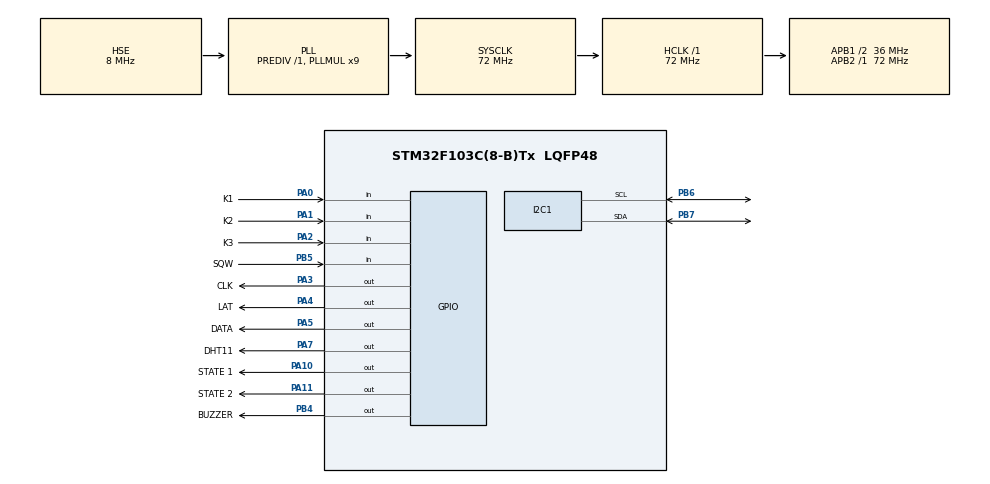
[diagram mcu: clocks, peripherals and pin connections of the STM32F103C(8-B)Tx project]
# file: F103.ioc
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Mcu.Family=STM32F1
Mcu.Name=STM32F103C(8-B)Tx
Mcu.Package=LQFP48
NVIC.PriorityGroup=NVIC_PRIORITYGROUP_4
NVIC.TIM2_IRQn=true\:1\:0\:true\:false\:true\:true\:true\:true
PA0-WKUP.GPIO_Label=K1
PA0-WKUP.Signal=GPIO_Input
PA1.GPIO_Label=K2
PA1.Signal=GPIO_Input
PA10.GPIO_Label=STATE 1
PA10.GPIO_ModeDefaultOutputPP=GPIO_MODE_OUTPUT_PP
PA10.GPIO_PuPd=GPIO_NOPULL
PA10.GPIO_Speed=GPIO_SPEED_FREQ_LOW
PA10.Signal=GPIO_Output
PA11.GPIO_Label=STATE 2
PA11.Signal=GPIO_Output
PA13.Mode=Serial_Wire
PA13.Signal=SYS_JTMS-SWDIO
PA14.Mode=Serial_Wire
PA14.Signal=SYS_JTCK-SWCLK
PA2.GPIO_Label=K3
PA2.Signal=GPIO_Input
PA3.GPIO_Label=CLK
PA3.GPIO_Speed=GPIO_SPEED_FREQ_MEDIUM
PA3.PinState=GPIO_PIN_RESET
PA3.Signal=GPIO_Output
PA4.GPIO_Label=LAT
PA4.GPIO_Speed=GPIO_SPEED_FREQ_MEDIUM
PA4.PinState=GPIO_PIN_RESET
PA4.Signal=GPIO_Output
PA5.GPIO_Label=DATA
PA5.GPIO_Speed=GPIO_SPEED_FREQ_MEDIUM
PA5.Signal=GPIO_Output
PA7.GPIO_Label=DHT11
PA7.GPIO_ModeDefaultOutputPP=GPIO_MODE_OUTPUT_PP
PA7.GPIO_PuPd=GPIO_NOPULL
PA7.GPIO_Speed=GPIO_SPEED_FREQ_LOW
PA7.Signal=GPIO_Output
PB4.GPIO_Label=BUZZER
PB4.Signal=GPIO_Output
PB5.GPIO_Label=SQW
PB5.Signal=GPIO_Input
PB6.Mode=I2C
PB6.Signal=I2C1_SCL
PB7.Mode=I2C
PB7.Signal=I2C1_SDA
PD0-OSC_IN.Mode=HSE-External-Oscillator
PD0-OSC_IN.Signal=RCC_OSC_IN
PD1-OSC_OUT.Mode=HSE-External-Oscillator
PD1-OSC_OUT.Signal=RCC_OSC_OUT
ProjectManager.HeapSize=0x200
ProjectManager.StackSize=0x400
ProjectManager.TargetToolchain=MDK-ARM V5.32
RCC.AHBFreq_Value=72000000
RCC.APB1CLKDivider=RCC_HCLK_DIV2
RCC.APB1Freq_Value=36000000
RCC.APB1TimFreq_Value=72000000
RCC.APB2Freq_Value=72000000
RCC.APB2TimFreq_Value=72000000
RCC.HCLKFreq_Value=72000000
RCC.PLLMUL=RCC_PLL_MUL9
RCC.PLLSourceVirtual=RCC_PLLSOURCE_HSE
RCC.SYSCLKFreq_VALUE=72000000
RCC.SYSCLKSource=RCC_SYSCLKSOURCE_PLLCLK
RCC.USBFreq_Value=72000000
TIM2.Period=26
TIM2.Prescaler=7199
TIM4.Prescaler=72-1
VP_TIM2_VS_ClockSourceINT.Mode=Internal
VP_TIM4_VS_ClockSourceINT.Mode=Internal
board=custom

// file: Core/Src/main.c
/* USER CODE BEGIN Header */
/**
  ******************************************************************************
  * @file           : main.c
  * @brief          : Main program body
  ******************************************************************************
  * @attention
  *
  * Copyright (c) 2024 STMicroelectronics.
  * All rights reserved.
  *
  * This software is licensed under terms that can be found in the LICENSE file
  * in the root directory of this software component.
  * If no LICENSE file comes with this software, it is provided AS-IS.
  *
  ******************************************************************************
  */
/* USER CODE END Header */
#include "main.h"
#include <stdbool.h>
/* USER CODE BEGIN Includes */
#include "mk_dht11.h"
/* USER CODE END Includes */

/* USER CODE BEGIN PTD */
typedef struct {
	uint8_t Seconds;
	uint8_t	Minute;
	uint8_t Hour;
	uint8_t Date;
	uint8_t Month;
	uint8_t Year;
}Time;

typedef struct{
	uint8_t Hour;
	uint8_t	Minute;
}Time_A;

/* USER CODE END PTD */

/* USER CODE BEGIN PD */
#define DS1307_Address 0x68
#define Seconds_Address 0x00
#define	Minute_Address 0x01
#define	Hour_Address	0x02
#define Date_Address 0x04
#define Month_Address 0x05
#define Year_Address 0x06
#define SQW_Address 0x07
#define HourAlarm_1_Address 0x08
#define MinuteAlarm_1_Address 0x09
#define HourAlarm_2_Address 0x10
#define MinuteAlarm_2_Address 0x11
#define HourAlarm_3_Address 0x12
#define MinuteAlarm_3_Address 0x13
#define AlarmState_Address 0x14
#define Value_1HZ 0x10
#define Value_Start 0x00
/* USER CODE END PD */

I2C_HandleTypeDef hi2c1;
TIM_HandleTypeDef htim2;
TIM_HandleTypeDef htim4;

/* USER CODE BEGIN PV */
 uint8_t LED_CODE[31] = {0xC0, 0xF9, 0xA4, 0xB0, 0x99, 0x92, 0x82, 0xF8, 0x80, 0x90, 0x40, 0x79, 0x24, 0x30, 0x19, 0x12, 0x02, 0x78, 0x00, 0x10, 0xFF,
 0x83/*chu b 21*/, 0xAB/*chu n 22*/, 0x8E/*chu f 23*/, 0xC3/*nua w 24*/, 0xE1/*nua w 25*/, 0xC1/*chu U 26*/, 0x8C/*chu p 27*/, 0xF7/*dau _ 28*/, 0x87/*chu t 29*/, 0xCF/*chu i 30*/};
 uint8_t LED_POS[8] = {0x80, 0x40, 0x20, 0x10, 0x08, 0x04, 0x02, 0x01};
 uint8_t LED_State[8];
 uint8_t T = 0;
 uint8_t Status = 0;
 uint8_t Status_Alarm = 0;
 bool sqw_before, sqw_later;
 bool Buzzer_State;
 uint8_t LED_Pos_Loop;
 dht11_t DHT11;
 Time DS1307;
 Time_A Alarms[3];
 uint8_t Alarm_State[3];
/* USER CODE END PV */

void SystemClock_Config(void);
static void MX_GPIO_Init(void);
static void MX_I2C1_Init(void);
static void MX_TIM4_Init(void);
static void MX_TIM2_Init(void);

/* USER CODE BEGIN 0 */

//Ham xu li nap xuat du lieu 74HC595 hien thi LED 7 thanh
void HC_595(uint8_t code,uint8_t pos){
	HAL_GPIO_WritePin(LAT_GPIO_Port, LAT_Pin,0);
	uint8_t i;
	for(i = 0; i < 8; i++){
		if(pos&0x80) HAL_GPIO_WritePin(DATA_GPIO_Port, DATA_Pin,1);
		else HAL_GPIO_WritePin(DATA_GPIO_Port, DATA_Pin,0);
		HAL_GPIO_WritePin(CLK_GPIO_Port, CLK_Pin,1);
		HAL_GPIO_WritePin(CLK_GPIO_Port, CLK_Pin,0);
		pos = pos<<1;
		}
	for(i = 0; i < 8; i++){
		if(code&0x80) HAL_GPIO_WritePin(DATA_GPIO_Port, DATA_Pin,1);
		else HAL_GPIO_WritePin(DATA_GPIO_Port, DATA_Pin,0);
		HAL_GPIO_WritePin(CLK_GPIO_Port, CLK_Pin,1);
		HAL_GPIO_WritePin(CLK_GPIO_Port, CLK_Pin,0);
		code = code<<1;
		}
		HAL_GPIO_WritePin(LAT_GPIO_Port, LAT_Pin,1);
}

//Ham giai ma hex to dec
uint8_t DS1307_Decode(uint8_t temp){
	return (((temp & 0xf0) >> 4) * 10) + (temp & 0x0f);
}

//Ham ma hoa dec to hex
uint8_t DS1307_Encode(uint8_t dec) {
  return (dec % 10 + ((dec / 10) << 4));
}

//Ham gi du truyen ghi du lieu vao DS1307
void Write_DS(uint8_t Address, uint8_t Value){
	uint8_t bytes[2] = {Address, Value};
	HAL_I2C_Master_Transmit(&hi2c1, DS1307_Address << 1, bytes, 2, 2000);
}

//Ham doc du lieu tu DS1307
uint8_t Read_DS(uint8_t Address){
	uint8_t Value;
	HAL_I2C_Master_Transmit(&hi2c1, DS1307_Address << 1, &Address, 1, 2000);
	HAL_I2C_Master_Receive(&hi2c1, DS1307_Address << 1, &Value, 1, 2000);
	return Value;
}
//Ham dat thoi gian va ngay thang nam
void Set_Time(uint8_t Seconds, uint8_t Hour, uint8_t Minute, uint8_t Date, uint8_t Month, uint8_t Year){
	Write_DS(Seconds_Address, DS1307_Encode(Seconds&0x7f));
	Write_DS(Hour_Address, DS1307_Encode(Hour&0x3f));
	Write_DS(Minute_Address, DS1307_Encode(Minute));
	Write_DS(Date_Address, DS1307_Encode(Date));
	Write_DS(Month_Address, DS1307_Encode(Month));
	Write_DS(Year_Address, DS1307_Encode(Year));
}

//Ham doc thoi gian

void Read_Time(){
	DS1307.Seconds = DS1307_Decode(Read_DS(Seconds_Address)&0x7f);
	DS1307.Hour = DS1307_Decode(Read_DS(Hour_Address)&0x3f);
	DS1307.Minute = DS1307_Decode(Read_DS(Minute_Address));
}
//Ham doc ngay thang nam
void Read_Date(){
	DS1307.Date = DS1307_Decode(Read_DS(Date_Address));
	DS1307.Month = DS1307_Decode(Read_DS(Month_Address));
	DS1307.Year = DS1307_Decode(Read_DS(Year_Address));
}
//Ham doc bao thuc
void Read_Alarm(){
	Alarms[0].Hour = DS1307_Decode(Read_DS(HourAlarm_1_Address));
	Alarms[0].Minute = DS1307_Decode(Read_DS(MinuteAlarm_1_Address));
	Alarms[1].Hour = DS1307_Decode(Read_DS(HourAlarm_2_Address));
	Alarms[1].Minute = DS1307_Decode(Read_DS(MinuteAlarm_2_Address));
	Alarms[2].Hour = DS1307_Decode(Read_DS(HourAlarm_3_Address));
	Alarms[2].Minute = DS1307_Decode(Read_DS(MinuteAlarm_3_Address));
	uint8_t Alarm_State_byte = DS1307_Decode(Read_DS(AlarmState_Address));
	for(uint8_t i = 0; i < 3; i++){
		if(Alarm_State_byte>>i&0x01) Alarm_State[i] = 1;
		else Alarm_State[i] = 0;
	}
}
//Ham dat bao thuc
void Set_Alarm(Time_A Alarms[]){
	Write_DS(HourAlarm_1_Address, DS1307_Encode(Alarms[0].Hour));
	Write_DS(MinuteAlarm_1_Address, DS1307_Encode(Alarms[0].Minute));
	Write_DS(HourAlarm_2_Address, DS1307_Encode(Alarms[1].Hour));
	Write_DS(MinuteAlarm_2_Address, DS1307_Encode(Alarms[1].Minute));
	Write_DS(HourAlarm_3_Address, DS1307_Encode(Alarms[2].Hour));
	Write_DS(MinuteAlarm_3_Address, DS1307_Encode(Alarms[2].Minute));
	uint8_t Alarm_State_byte;
	for(uint8_t i = 0; i < 3; i++){
		if(Alarm_State[i]) Alarm_State_byte |= (1 << i);
		else Alarm_State_byte &= (1 << i);
	}
	Write_DS(AlarmState_Address, DS1307_Encode(Alarm_State_byte));
}
//Ham kiem tra bao thuc de bat chuong 188
void Checking_Alarm(){
	for(uint8_t i = 0; i < 3; i++){
		if(Alarm_State[i] == true){
			if(Alarms[i].Hour == DS1307.Hour && Alarms[i].Minute == DS1307.Minute){
				Buzzer_State = true;
				return;
			}
		}
	}
	Buzzer_State = false;
}

//Ham tinh thoi gian de chuyen trang thai tu thoi gian sang thang va nam.
void Timer_Switch(uint8_t *T){
	sqw_before = sqw_later;
	sqw_later = HAL_GPIO_ReadPin(SQW_GPIO_Port,SQW_Pin);
	if(sqw_before == 1&& sqw_later == 0){
		if(Status == 0){
			if ((*T) == 59 ){
				Read_Time();
				Checking_Alarm();
				(*T) = 0;
				if (DS1307.Hour == 0 && DS1307.Minute == 0) Read_Date();
			}
			else{
				(*T)++;
			}
			readDHT11(&DHT11);
		}
	}
}

//Ham nap cac ki tu hien thi theo tung status day vao xu li 74HC595 Display_1 Hien thi Nhiet do/do am/thoi gian, Display_2  hien thi
void Display_0(){
	if(HAL_GPIO_ReadPin(SQW_GPIO_Port,SQW_Pin) == 0){
		for(uint8_t i = 0; i < 8; i++) LED_State[i]= 20;
	}
	else{
		LED_State[0] = 24;
		LED_State[1] = 25;
		LED_State[2] = 26;
		LED_State[3] = 27;
		LED_State[4] = DS1307.Hour/10 + 10;
		LED_State[5] = DS1307.Hour%10 + 10;
		LED_State[6] = DS1307.Minute/10 + 10;
		LED_State[7] = DS1307.Minute%10 + 10;
	}
	HAL_GPIO_WritePin(STATE_1_GPIO_Port, STATE_1_Pin, 1);
	HAL_GPIO_WritePin(STATE_2_GPIO_Port, STATE_2_Pin, 1);
}
void Display_1(uint8_t Status){
	if(Status == 0){
		LED_State[0] = (uint8_t)DHT11.temperature/10;
		LED_State[1] = (uint8_t)DHT11.temperature%10;
		LED_State[2] = (uint8_t)DHT11.humidty/10;
		LED_State[3] = (uint8_t)DHT11.humidty%10;
	}
	else{
		LED_State[0] = 5;
		LED_State[1] = 28;
		LED_State[2] = 29;
		LED_State[3] = 30;
	}
	if(HAL_GPIO_ReadPin(SQW_GPIO_Port,SQW_Pin) == 0){
		LED_State[4] = DS1307.Hour/10;
		LED_State[5] = DS1307.Hour%10;
		LED_State[6] = DS1307.Minute/10;
		LED_State[7] = DS1307.Minute%10;
	}
	else{
		LED_State[4] = DS1307.Hour/10 + 10;
		LED_State[5] = DS1307.Hour%10 + 10;
		LED_State[6] = DS1307.Minute/10 + 10;
		LED_State[7] = DS1307.Minute%10 + 10;
	}
	HAL_GPIO_WritePin(STATE_1_GPIO_Port, STATE_1_Pin, 1);
	HAL_GPIO_WritePin(STATE_2_GPIO_Port, STATE_2_Pin, 0);
}

void Display_2(){
	if(DS1307.Date/10 == 0) LED_State[0] = 20;
	else LED_State[0] = DS1307.Date/10;
	LED_State[1] = DS1307.Date%10;
	if(DS1307.Month/10 == 0) LED_State[2] = 20;
	else LED_State[2] = DS1307.Month/10;
	LED_State[3] = DS1307.Month%10;
	LED_State[4] = 2;
	LED_State[5] = 0;
	LED_State[6] = DS1307.Year/10;
	LED_State[7] = DS1307.Year%10;
	HAL_GPIO_WritePin(STATE_1_GPIO_Port, STATE_1_Pin, 0);
	HAL_GPIO_WritePin(STATE_2_GPIO_Port, STATE_2_Pin, 1);
}
void Display_3(uint8_t Status_Alarm, Time_A Alarms[], uint8_t Alarm_State[]){
	LED_State[0] = 21;
	LED_State[1] = Status_Alarm + 1;
	LED_State[2] = 0;
	if(Alarm_State[Status_Alarm]) LED_State[3] = 22;
	else LED_State[3] = 23;
	if(HAL_GPIO_ReadPin(SQW_GPIO_Port,SQW_Pin) == 0){
		LED_State[4] = Alarms[Status_Alarm].Hour/10;
		LED_State[5] = Alarms[Status_Alarm].Hour%10;
		LED_State[6] = Alarms[Status_Alarm].Minute/10;
		LED_State[7] = Alarms[Status_Alarm].Minute%10;
	}
	else{
		LED_State[4] = Alarms[Status_Alarm].Hour/10 + 10;
		LED_State[5] = Alarms[Status_Alarm].Hour%10 + 10;
		LED_State[6] = Alarms[Status_Alarm].Minute/10 + 10;
		LED_State[7] = Alarms[Status_Alarm].Minute%10 + 10;
	}
	HAL_GPIO_WritePin(STATE_1_GPIO_Port, STATE_1_Pin, 0);
	HAL_GPIO_WritePin(STATE_2_GPIO_Port, STATE_2_Pin, 0);
}
void Display_4(uint8_t Status){
	if(Status == 1 || Status == 7 || Status == 10 || Status == 13){
		LED_State[4] = 20;
		LED_State[5] = 20;
	}
	else if(Status == 2 || Status == 8 || Status == 11 || Status == 14){
		LED_State[6] = 20;
		LED_State[7] = 20;
	}
	else if(Status == 3){
		LED_State[4] = 20;
		LED_State[5] = 20;
		LED_State[6] = 20;
		LED_State[7] = 20;
	}
	else if(Status == 4 || Status == 6 || Status == 9 || Status == 12){
		LED_State[2] = 20;
		LED_State[3] = 20;
	}
	else if(Status == 5){
		LED_State[0] = 20;
		LED_State[1] = 20;
	}
}

//Ham hien thi tong
void Show_out(){
	if(Status == 0){
		if(!Buzzer_State){
			if((T%20)<15) Display_1(0);
			else Display_2();
		}
		else Display_0();
	}
	else if(Status == 1){
		Display_1(Status);
	}
	else if(Status == 2){
		Display_1(Status);
	}
	else if(Status == 3){
		Display_2();
	}
	else if(Status == 4){
		Display_2();
	}
	else if(Status == 5){
		Display_2();
	}
	else if(Status >= 6){
		Display_3(Status_Alarm, Alarms, Alarm_State);
	}
	if(Status != 0) if(HAL_GPIO_ReadPin(SQW_GPIO_Port,SQW_Pin) == 0) Display_4(Status);
	HC_595(LED_CODE[LED_State[LED_Pos_Loop]],LED_POS[LED_Pos_Loop]);
}
//Ham doc trang thai key chuyen doi trang thai
void Switch_Status(uint8_t *Value, uint8_t Max, bool *External){
	if(HAL_GPIO_ReadPin(K1_GPIO_Port,K1_Pin) == 0){
		HAL_Delay(20);
		uint32_t Time_check = HAL_GetTick();
		uint32_t Time_push;
		while(HAL_GPIO_ReadPin(K1_GPIO_Port,K1_Pin) == 0){
			HAL_GPIO_WritePin(BUZZER_GPIO_Port,BUZZER_Pin,1);
			Time_push = HAL_GetTick() - Time_check;
		}
		HAL_GPIO_WritePin(BUZZER_GPIO_Port,BUZZER_Pin,0);
		if(*External == true) *External = false;
		else{
			if(Time_push > 500 && Time_push < 1500){
				if(*Value == 0) HAL_Delay(500);
				else {
					(*Value)--;
					HAL_Delay(200);
				}
			}
			else if(Time_push >= 1500){
				*Value = Max;
			}
			else{
				if (*Value < Max) (*Value)++;
				else if(*Value == Max) {
					*Value = 0;
				}
			}
		}
	}
}
//Ham doc trang thai key tang len
void Up(uint8_t *Value, uint8_t Min, uint8_t Max){
	if(HAL_GPIO_ReadPin(K2_GPIO_Port,K2_Pin) == 0){
		HAL_Delay(20);
		while(HAL_GPIO_ReadPin(K2_GPIO_Port,K2_Pin) == 0)	HAL_GPIO_WritePin(BUZZER_GPIO_Port,BUZZER_Pin,1);
		HAL_GPIO_WritePin(BUZZER_GPIO_Port,BUZZER_Pin,0);
		if(*Value < Max) (*Value)++;
		else if(*Value == Max) *Value = Min;
	}
}
//Ham doc trang thai key giam xuong
void Down(uint8_t *Value,uint8_t Min, uint8_t Max){
	if(HAL_GPIO_ReadPin(K3_GPIO_Port,K3_Pin) == 0){
		HAL_Delay(20);
		while(HAL_GPIO_ReadPin(K3_GPIO_Port,K3_Pin) == 0) HAL_GPIO_WritePin(BUZZER_GPIO_Port,BUZZER_Pin,1);
		HAL_GPIO_WritePin(BUZZER_GPIO_Port,BUZZER_Pin,0);
		if(*Value > Min)(*Value)--;
		else if(*Value == Min) *Value = Max;
	}
}
//Ham chay chuong bao thuc
void Run_Buzzer(bool Buzzer_State){
	if(Buzzer_State){
		if(HAL_GPIO_ReadPin(SQW_GPIO_Port,SQW_Pin) == 1) HAL_GPIO_WritePin(BUZZER_GPIO_Port,BUZZER_Pin,1);
		else HAL_GPIO_WritePin(BUZZER_GPIO_Port,BUZZER_Pin,0);
	}
	else HAL_GPIO_WritePin(BUZZER_GPIO_Port,BUZZER_Pin,0);
}
//Ham kiem tra cac phim
void Key_Scan(){
	Switch_Status(&Status, 15, &Buzzer_State);
	switch(Status){
		case 0: break;
		case 1:{
			Up(&DS1307.Hour,0,23);
			Down(&DS1307.Hour,0,23);
			break;
		}
		case 2:{
			Up(&DS1307.Minute,0,59);
			Down(&DS1307.Minute,0,59);
			break;
		}
		case 3:{
			Up(&DS1307.Year,0,99);
			Down(&DS1307.Year,0,99);
			break;
		}
		case 4:{
			Up(&DS1307.Month,1,12);
			Down(&DS1307.Month,1,12);
			break;
		}
		case 5:{
			if(DS1307.Month == 1 || DS1307.Month == 3 || DS1307.Month == 5 || DS1307.Month == 7 ||
				DS1307.Month == 8 || DS1307.Month == 10 || DS1307.Month == 12){
				Up(&DS1307.Date,1,31);
				Down(&DS1307.Date,1,31);
				break;
				}
			else if(DS1307.Month == 4 || DS1307.Month == 6 || DS1307.Month == 9 || DS1307.Month == 11){
				if(DS1307.Date > 30) DS1307.Date = 30;
				Up(&DS1307.Date,1,30);
				Down(&DS1307.Date,1,30);
				break;
			}
			else if (DS1307.Month == 2){
				if(DS1307.Year%4 == 0){
					if(DS1307.Date > 29) DS1307.Date = 29;
					Up(&DS1307.Date,1,29);
					Down(&DS1307.Date,1,29);
					break;
				}
				else{
					if(DS1307.Date > 28) DS1307.Date = 28;
					Up(&DS1307.Date,1,28);
					Down(&DS1307.Date,1,28);
					break;
				}
			}
		}
		case 6:{
			Status_Alarm = 0;
			Up(&Alarm_State[0],0,1);
			Down(&Alarm_State[0],0,1);
			break;
		}
		case 7:{
			Up(&Alarms[0].Hour,0,23);
			Down(&Alarms[0].Hour,0,23);
			break;
		}
		case 8:{
			Up(&Alarms[0].Minute,0,59);
			Down(&Alarms[0].Minute,0,59);
			break;
		}
		case 9:{
			Status_Alarm = 1;
			Up(&Alarm_State[1],0,1);
			Down(&Alarm_State[1],0,1);
			break;
		}
		case 10:{
			Up(&Alarms[1].Hour,0,23);
			Down(&Alarms[1].Hour,0,23);
			break;
		}
		case 11:{
			Up(&Alarms[1].Minute,0,59);
			Down(&Alarms[1].Minute,0,59);
			break;
		}
		case 12:{
			Status_Alarm = 2;
			Up(&Alarm_State[2],0,1);
			Down(&Alarm_State[2],0,1);
			break;
		}
		case 13:{
			Up(&Alarms[2].Hour,0,23);
			Down(&Alarms[2].Hour,0,23);
			break;
		}
		case 14:{
			Up(&Alarms[2].Minute,0,59);
			Down(&Alarms[2].Minute,0,59);
			break;
		}
		case 15:{
			Set_Time(DS1307.Seconds ,DS1307.Hour, DS1307.Minute, DS1307.Date, DS1307.Month, DS1307.Year);
			Set_Alarm(Alarms);
			Status = 0;
			T = 0;
			HAL_Delay(1000);
			break;
		}
	}
}
void Init(){
	HAL_Delay(1000);
	Write_DS(SQW_Address,Value_1HZ);
	HAL_TIM_Base_Start_IT(&htim2);
	HAL_TIM_Base_Start(&htim4);
	init_dht11(&DHT11, &htim4, DHT11_GPIO_Port, DHT11_Pin);
	Read_Time();
	Read_Date();
	Read_Alarm();
	readDHT11(&DHT11);
	HAL_Delay(1000);
}
/* USER CODE END 0 */

int main(void)
{

  /* MCU Configuration--------------------------------------------------------*/

  /* Reset of all peripherals, Initializes the Flash interface and the Systick. */
  HAL_Init();

  /* Configure the system clock */
  SystemClock_Config();

  /* Initialize all configured peripherals */
  MX_GPIO_Init();
  MX_I2C1_Init();
  MX_TIM4_Init();
  MX_TIM2_Init();
  /* USER CODE BEGIN 2 */
	Init();
  /* USER CODE END 2 */

  /* Infinite loop */
  /* USER CODE BEGIN WHILE */
  while (1)
  {
		Key_Scan();
		Timer_Switch(&T);
		Run_Buzzer(Buzzer_State);
    /* USER CODE END WHILE */

  }
}

void SystemClock_Config(void)
{
  RCC_OscInitTypeDef RCC_OscInitStruct = {0};
  RCC_ClkInitTypeDef RCC_ClkInitStruct = {0};

  /** Initializes the RCC Oscillators according to the specified parameters
  * in the RCC_OscInitTypeDef structure.
  */
  RCC_OscInitStruct.OscillatorType = RCC_OSCILLATORTYPE_HSE;
  RCC_OscInitStruct.HSEState = RCC_HSE_ON;
  RCC_OscInitStruct.HSEPredivValue = RCC_HSE_PREDIV_DIV1;
  RCC_OscInitStruct.HSIState = RCC_HSI_ON;
  RCC_OscInitStruct.PLL.PLLState = RCC_PLL_ON;
  RCC_OscInitStruct.PLL.PLLSource = RCC_PLLSOURCE_HSE;
  RCC_OscInitStruct.PLL.PLLMUL = RCC_PLL_MUL9;
  if (HAL_RCC_OscConfig(&RCC_OscInitStruct) != HAL_OK)
  {
    Error_Handler();
  }

  /** Initializes the CPU, AHB and APB buses clocks
  */
  RCC_ClkInitStruct.ClockType = RCC_CLOCKTYPE_HCLK|RCC_CLOCKTYPE_SYSCLK
                              |RCC_CLOCKTYPE_PCLK1|RCC_CLOCKTYPE_PCLK2;
  RCC_ClkInitStruct.SYSCLKSource = RCC_SYSCLKSOURCE_PLLCLK;
  RCC_ClkInitStruct.AHBCLKDivider = RCC_SYSCLK_DIV1;
  RCC_ClkInitStruct.APB1CLKDivider = RCC_HCLK_DIV2;
  RCC_ClkInitStruct.APB2CLKDivider = RCC_HCLK_DIV1;

  if (HAL_RCC_ClockConfig(&RCC_ClkInitStruct, FLASH_LATENCY_2) != HAL_OK)
  {
    Error_Handler();
  }
}

static void MX_I2C1_Init(void)
{

  hi2c1.Instance = I2C1;
  hi2c1.Init.ClockSpeed = 100000;
  hi2c1.Init.DutyCycle = I2C_DUTYCYCLE_2;
  hi2c1.Init.OwnAddress1 = 0;
  hi2c1.Init.AddressingMode = I2C_ADDRESSINGMODE_7BIT;
  hi2c1.Init.DualAddressMode = I2C_DUALADDRESS_DISABLE;
  hi2c1.Init.OwnAddress2 = 0;
  hi2c1.Init.GeneralCallMode = I2C_GENERALCALL_DISABLE;
  hi2c1.Init.NoStretchMode = I2C_NOSTRETCH_DISABLE;
  if (HAL_I2C_Init(&hi2c1) != HAL_OK)
  {
    Error_Handler();
  }

}

static void MX_TIM2_Init(void)
{

  TIM_ClockConfigTypeDef sClockSourceConfig = {0};
  TIM_MasterConfigTypeDef sMasterConfig = {0};

  htim2.Instance = TIM2;
  htim2.Init.Prescaler = 7199;
  htim2.Init.CounterMode = TIM_COUNTERMODE_UP;
  htim2.Init.Period = 20;
  htim2.Init.ClockDivision = TIM_CLOCKDIVISION_DIV1;
  htim2.Init.AutoReloadPreload = TIM_AUTORELOAD_PRELOAD_DISABLE;
  if (HAL_TIM_Base_Init(&htim2) != HAL_OK)
  {
    Error_Handler();
  }
  sClockSourceConfig.ClockSource = TIM_CLOCKSOURCE_INTERNAL;
  if (HAL_TIM_ConfigClockSource(&htim2, &sClockSourceConfig) != HAL_OK)
  {
    Error_Handler();
  }
  sMasterConfig.MasterOutputTrigger = TIM_TRGO_RESET;
  sMasterConfig.MasterSlaveMode = TIM_MASTERSLAVEMODE_DISABLE;
  if (HAL_TIMEx_MasterConfigSynchronization(&htim2, &sMasterConfig) != HAL_OK)
  {
    Error_Handler();
  }

}

static void MX_TIM4_Init(void)
{

  TIM_ClockConfigTypeDef sClockSourceConfig = {0};
  TIM_MasterConfigTypeDef sMasterConfig = {0};

  htim4.Instance = TIM4;
  htim4.Init.Prescaler = 72-1;
  htim4.Init.CounterMode = TIM_COUNTERMODE_UP;
  htim4.Init.Period = 65535;
  htim4.Init.ClockDivision = TIM_CLOCKDIVISION_DIV1;
  htim4.Init.AutoReloadPreload = TIM_AUTORELOAD_PRELOAD_DISABLE;
  if (HAL_TIM_Base_Init(&htim4) != HAL_OK)
  {
    Error_Handler();
  }
  sClockSourceConfig.ClockSource = TIM_CLOCKSOURCE_INTERNAL;
  if (HAL_TIM_ConfigClockSource(&htim4, &sClockSourceConfig) != HAL_OK)
  {
    Error_Handler();
  }
  sMasterConfig.MasterOutputTrigger = TIM_TRGO_RESET;
  sMasterConfig.MasterSlaveMode = TIM_MASTERSLAVEMODE_DISABLE;
  if (HAL_TIMEx_MasterConfigSynchronization(&htim4, &sMasterConfig) != HAL_OK)
  {
    Error_Handler();
  }

}

static void MX_GPIO_Init(void)
{
  GPIO_InitTypeDef GPIO_InitStruct = {0};

  /* GPIO Ports Clock Enable */
  __HAL_RCC_GPIOC_CLK_ENABLE();
  __HAL_RCC_GPIOD_CLK_ENABLE();
  __HAL_RCC_GPIOA_CLK_ENABLE();
  __HAL_RCC_GPIOB_CLK_ENABLE();

  /*Configure GPIO pin Output Level */
  HAL_GPIO_WritePin(GPIOA, CLK_Pin|LAT_Pin|DATA_Pin|DHT11_Pin
                          |STATE_1_Pin|STATE_2_Pin, GPIO_PIN_RESET);

  /*Configure GPIO pin Output Level */
  HAL_GPIO_WritePin(BUZZER_GPIO_Port, BUZZER_Pin, GPIO_PIN_RESET);

  /*Configure GPIO pins : PC13 PC14 PC15 */
  GPIO_InitStruct.Pin = GPIO_PIN_13|GPIO_PIN_14|GPIO_PIN_15;
  GPIO_InitStruct.Mode = GPIO_MODE_ANALOG;
  HAL_GPIO_Init(GPIOC, &GPIO_InitStruct);

  /*Configure GPIO pins : K1_Pin K2_Pin K3_Pin */
  GPIO_InitStruct.Pin = K1_Pin|K2_Pin|K3_Pin;
  GPIO_InitStruct.Mode = GPIO_MODE_INPUT;
  GPIO_InitStruct.Pull = GPIO_NOPULL;
  HAL_GPIO_Init(GPIOA, &GPIO_InitStruct);

  /*Configure GPIO pins : CLK_Pin LAT_Pin DATA_Pin DHT11_Pin */
  GPIO_InitStruct.Pin = CLK_Pin|LAT_Pin|DATA_Pin|DHT11_Pin;
  GPIO_InitStruct.Mode = GPIO_MODE_OUTPUT_PP;
  GPIO_InitStruct.Pull = GPIO_NOPULL;
  GPIO_InitStruct.Speed = GPIO_SPEED_FREQ_LOW;
  HAL_GPIO_Init(GPIOA, &GPIO_InitStruct);

  /*Configure GPIO pins : PA6 PA8 PA9 PA12
                           PA15 */
  GPIO_InitStruct.Pin = GPIO_PIN_6|GPIO_PIN_8|GPIO_PIN_9|GPIO_PIN_12
                          |GPIO_PIN_15;
  GPIO_InitStruct.Mode = GPIO_MODE_ANALOG;
  HAL_GPIO_Init(GPIOA, &GPIO_InitStruct);

  /*Configure GPIO pins : PB0 PB1 PB2 PB10
                           PB11 PB12 PB13 PB14
                           PB15 PB3 PB8 PB9 */
  GPIO_InitStruct.Pin = GPIO_PIN_0|GPIO_PIN_1|GPIO_PIN_2|GPIO_PIN_10
                          |GPIO_PIN_11|GPIO_PIN_12|GPIO_PIN_13|GPIO_PIN_14
                          |GPIO_PIN_15|GPIO_PIN_3|GPIO_PIN_8|GPIO_PIN_9;
  GPIO_InitStruct.Mode = GPIO_MODE_ANALOG;
  HAL_GPIO_Init(GPIOB, &GPIO_InitStruct);

  /*Configure GPIO pins : STATE_1_Pin STATE_2_Pin */
  GPIO_InitStruct.Pin = STATE_1_Pin|STATE_2_Pin;
  GPIO_InitStruct.Mode = GPIO_MODE_OUTPUT_PP;
  GPIO_InitStruct.Pull = GPIO_NOPULL;
  GPIO_InitStruct.Speed = GPIO_SPEED_FREQ_LOW;
  HAL_GPIO_Init(GPIOA, &GPIO_InitStruct);

  /*Configure GPIO pin : BUZZER_Pin */
  GPIO_InitStruct.Pin = BUZZER_Pin;
  GPIO_InitStruct.Mode = GPIO_MODE_OUTPUT_PP;
  GPIO_InitStruct.Pull = GPIO_NOPULL;
  GPIO_InitStruct.Speed = GPIO_SPEED_FREQ_LOW;
  HAL_GPIO_Init(BUZZER_GPIO_Port, &GPIO_InitStruct);

  /*Configure GPIO pin : SQW_Pin */
  GPIO_InitStruct.Pin = SQW_Pin;
  GPIO_InitStruct.Mode = GPIO_MODE_INPUT;
  GPIO_InitStruct.Pull = GPIO_NOPULL;
  HAL_GPIO_Init(SQW_GPIO_Port, &GPIO_InitStruct);

}

void Error_Handler(void)
{
  __disable_irq();
  while (1)
  {
  }
}
